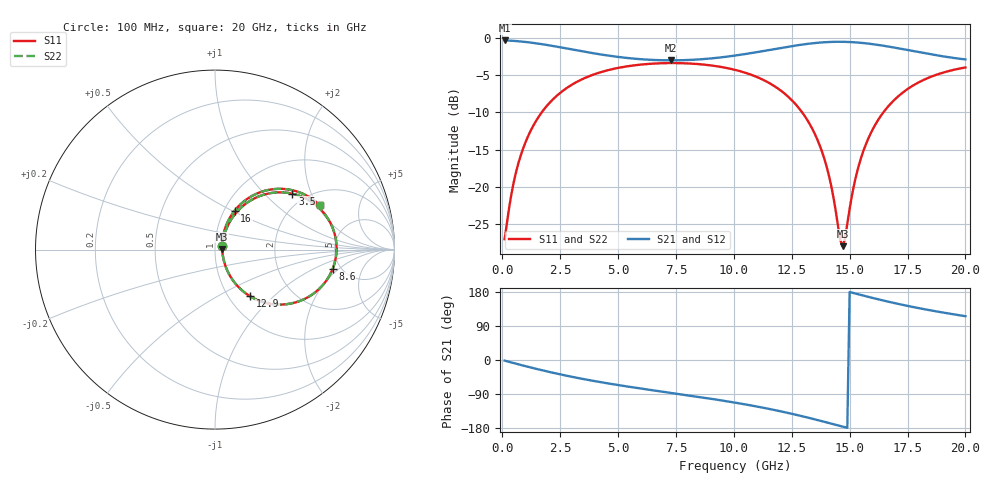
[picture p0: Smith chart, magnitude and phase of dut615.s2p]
! Touchstone file exported from HFSS 2026.1.0
!  File:  C:/ffzhzh/LocalFiles/Ansys_Project_Files/temp_train_TSV_RDL_615_1783124133_35180.aedt
!  Generated:  08:25:18 AM Jul  4, 2026
!  Design:  TSV_RDL
!  Project:  temp_train_TSV_RDL_615_1783124133_35180
! Variables:
!  h_bsmrdl = 4um
!  h_ox = 20um
!  h_rdl = 5um
!  h_sub = 55.3um
!  h_tmrdl = 2.92um
!  h_tsv = 55.3um
!  h_via = 3um
!  l_bsmrdl = 244.56um
!  l_sub = 4196.49um
!  l_tmrdl = 745.64um
!  m_sub = 200um
!  pitch = 44.93um
!  r_tsv = 5.09um
!  s_tmrdl = 10um
!  w_bsmrdl = 16.53um
!  w_sub = 500um
!  w_tmrdl = 10.22um
!  x_tsv_center1 = 750.75um
!  x_tsv_center2 = 1011.84um
!  x_tsv_center3 = 1767.7um
!  x_tsv_center4 = 2028.79um
!  x_tsv_center5 = 2784.65um
!  x_tsv_center6 = 3045.74um
# GHz S MA R 50.000000
! Terminal data exported
! Port[1] = TM_RDL1_1_T1
! Port[2] = TM_RDL5_1_T1
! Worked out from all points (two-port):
!   200 points, 100 MHz to 20 GHz, reference 50 ohm
!   highest |S21| = -0.35 dB at 100 MHz (marker M1); lowest = -3.0 dB at 7.3 GHz (marker M2)
!   |S21| within 3 dB of the highest: start of sweep to end of sweep
!   lowest |S11| = -27.9 dB at 14.7 GHz (marker M3), VSWR 1.08, Z = 54.2 + j0.338 ohm
!   |S11| at or under -10 dB: start of sweep to 1.702 GHz; 12.95 GHz to 16.46 GHz (3.506 GHz wide, 23.8 % of centre)
!   |S22| runs from -27.9 to -3.4 dB; largest |S21 - S12| = 1.9e-14
!   S11 on the Smith chart (normalised r, x): 100 MHz: 1.08, +0.04; 3.5 GHz: 1.71, +1.48; 8.6 GHz: 4.26, -1.67; 12.9 GHz: 1.25, -0.72; 16 GHz: 1.12, +0.52; 20 GHz: 2.54, +2.10
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0.1  0.04474 25.7  0.9601 -1.7  0.9601 -1.7  0.04474 25.7
! Gamma 0 0 0 0
! Port Impedance 50 0 50 0
0.4  0.09082 56.6  0.9559 -6.7  0.9559 -6.7  0.09082 56.6
0.6  0.127 61.0  0.9511 -9.9  0.9511 -9.9  0.127 61.0
1.2  0.2341 60.3  0.9303 -19.3  0.9303 -19.3  0.2341 60.3
2.2  0.3888 50.1  0.8809 -33.9  0.8809 -33.9  0.3888 50.1
3.5  0.5323 35.8  0.8095 -50.2  0.8095 -50.2  0.5323 35.8
5.1  0.6327 20.2  0.7415 -67.1  0.7415 -67.1  0.6327 20.2
6.8  0.6749 5.6  0.7081 -82.6  0.7081 -82.6  0.6748 5.6
7.3  0.6773 1.4  0.7063 -87.0  0.7063 -87.0  0.6773 1.4
8.6  0.6638 -9.5  0.7185 -98.5  0.7185 -98.5  0.6638 -9.5
10.1  0.6072 -23.1  0.7622 -113.0  0.7622 -113.0  0.6072 -23.1
11.6  0.4905 -38.5  0.8325 -130.0  0.8325 -130.0  0.4905 -38.5
12.9  0.3242 -53.1  0.8987 -147.6  0.8987 -147.6  0.3242 -53.1
13.4  0.2435 -58.0  0.9191 -155.1  0.9191 -155.1  0.2435 -58.0
14.1  0.1204 -58.7  0.9373 -166.1  0.9373 -166.1  0.1205 -58.6
14.6  0.04395 -20.0  0.9407 -174.2  0.9407 -174.2  0.04412 -19.8
14.7  0.04016 4.4  0.9404 -175.8  0.9404 -175.8  0.04038 4.5
15.3  0.1225 64.0  0.9311 174.5  0.9311 174.5  0.1226 63.9
16  0.2439 63.2  0.9067 163.7  0.9067 163.7  0.244 63.1
16.7  0.3519 56.3  0.8724 153.5  0.8724 153.5  0.352 56.2
18.2  0.5227 40.1  0.7906 134.3  0.7906 134.3  0.5227 40.0
20  0.6327 23.0  0.7161 115.6  0.7161 115.6  0.6327 23.0
